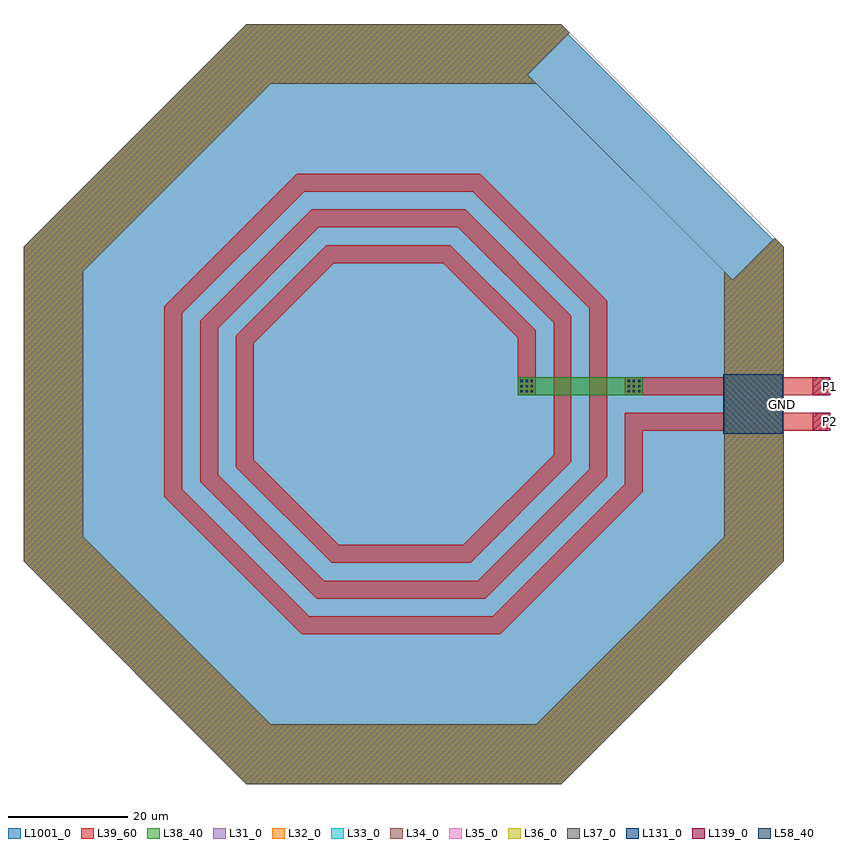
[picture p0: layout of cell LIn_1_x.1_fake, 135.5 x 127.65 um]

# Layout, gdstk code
import gdstk
lib = gdstk.Library(unit=1e-6, precision=1e-09)
def R(c, l, rs):  # rectangles x0, y0, x1, y1
    for r in rs: c.add(gdstk.rectangle(r[:2], r[2:], *l))
def A(c, l, x, y, w, h, nx, ny, dx, dy):  # array of equal rectangles
    R(c, l, [(x+i*dx, y+j*dy, x+i*dx+w, y+j*dy+h) for i in range(nx) for j in range(ny)])
def P(c, l, *ps):  # polygons
    for p in ps: c.add(gdstk.Polygon(p, *l))
L31_0 = (31, 0)
L32_0 = (32, 0)
L33_0 = (33, 0)
L34_0 = (34, 0)
L35_0 = (35, 0)
L36_0 = (36, 0)
L37_0 = (37, 0)
L38_40 = (38, 40)
L39_60 = (39, 60)
L58_40 = (58, 40)
L131_0 = (131, 0)
L139_0 = (139, 0)
L1001_0 = (1001, 0)

lin_1_x_1_fake = lib.new_cell('LIn_1_x.1_fake')
P(lin_1_x_1_fake, L31_0, [(55.291,20.831),(62.362,27.902),(26.438,63.826),(-26.438,63.826),(-63.826,26.438),(-63.826,-26.438),(-26.438,-63.826),(26.438,-63.826),(63.826,-26.438),(63.826,26.438),(27.902,62.362),(20.831,55.291),(53.826,22.296),(53.826,-22.296),(22.296,-53.826),(-22.296,-53.826),(-53.826,-22.296),(-53.826,22.296),(-22.296,53.826),(22.296,53.826)])
P(lin_1_x_1_fake, L32_0, [(55.291,20.831),(62.362,27.902),(26.438,63.826),(-26.438,63.826),(-63.826,26.438),(-63.826,-26.438),(-26.438,-63.826),(26.438,-63.826),(63.826,-26.438),(63.826,26.438),(27.902,62.362),(20.831,55.291),(53.826,22.296),(53.826,-22.296),(22.296,-53.826),(-22.296,-53.826),(-53.826,-22.296),(-53.826,22.296),(-22.296,53.826),(22.296,53.826)])
P(lin_1_x_1_fake, L33_0, [(55.291,20.831),(62.362,27.902),(26.438,63.826),(-26.438,63.826),(-63.826,26.438),(-63.826,-26.438),(-26.438,-63.826),(26.438,-63.826),(63.826,-26.438),(63.826,26.438),(27.902,62.362),(20.831,55.291),(53.826,22.296),(53.826,-22.296),(22.296,-53.826),(-22.296,-53.826),(-53.826,-22.296),(-53.826,22.296),(-22.296,53.826),(22.296,53.826)])
P(lin_1_x_1_fake, L34_0, [(55.291,20.831),(62.362,27.902),(26.438,63.826),(-26.438,63.826),(-63.826,26.438),(-63.826,-26.438),(-26.438,-63.826),(26.438,-63.826),(63.826,-26.438),(63.826,26.438),(27.902,62.362),(20.831,55.291),(53.826,22.296),(53.826,-22.296),(22.296,-53.826),(-22.296,-53.826),(-53.826,-22.296),(-53.826,22.296),(-22.296,53.826),(22.296,53.826)])
P(lin_1_x_1_fake, L35_0, [(55.291,20.831),(62.362,27.902),(26.438,63.826),(-26.438,63.826),(-63.826,26.438),(-63.826,-26.438),(-26.438,-63.826),(26.438,-63.826),(63.826,-26.438),(63.826,26.438),(27.902,62.362),(20.831,55.291),(53.826,22.296),(53.826,-22.296),(22.296,-53.826),(-22.296,-53.826),(-53.826,-22.296),(-53.826,22.296),(-22.296,53.826),(22.296,53.826)])
P(lin_1_x_1_fake, L36_0, [(55.291,20.831),(62.362,27.902),(26.438,63.826),(-26.438,63.826),(-63.826,26.438),(-63.826,-26.438),(-26.438,-63.826),(26.438,-63.826),(63.826,-26.438),(63.826,26.438),(27.902,62.362),(20.831,55.291),(53.826,22.296),(53.826,-22.296),(22.296,-53.826),(-22.296,-53.826),(-53.826,-22.296),(-53.826,22.296),(-22.296,53.826),(22.296,53.826)])
P(lin_1_x_1_fake, L37_0, [(55.291,20.831),(62.362,27.902),(26.438,63.826),(-26.438,63.826),(-63.826,26.438),(-63.826,-26.438),(-26.438,-63.826),(26.438,-63.826),(63.826,-26.438),(63.826,26.438),(27.902,62.362),(20.831,55.291),(53.826,22.296),(53.826,-22.296),(22.296,-53.826),(-22.296,-53.826),(-53.826,-22.296),(-53.826,22.296),(-22.296,53.826),(22.296,53.826)])
R(lin_1_x_1_fake, L38_40, [(19.175,1.5,40.175,4.5)])
P(lin_1_x_1_fake, L38_40, [(55.291,20.831),(62.362,27.902),(26.438,63.826),(-26.438,63.826),(-63.826,26.438),(-63.826,-26.438),(-26.438,-63.826),(26.438,-63.826),(63.826,-26.438),(63.826,26.438),(27.902,62.362),(20.831,55.291),(53.826,22.296),(53.826,-22.296),(22.296,-53.826),(-22.296,-53.826),(-53.826,-22.296),(-53.826,22.296),(-22.296,53.826),(22.296,53.826)])
R(lin_1_x_1_fake, L39_60, [(37.175,-4.5,71.675,-1.5), (37.175,1.5,71.675,4.5)])
P(lin_1_x_1_fake, L39_60, [(19.175,1.5),(22.175,1.5),(22.175,12.366),(7.866,26.675),(-12.986,26.675),(-28.175,11.486),(-28.175,-10.611),(-12.111,-26.675),(11.231,-26.675),(28.175,-9.731),(28.175,14.851),(10.351,32.675),(-15.471,32.675),(-34.175,13.971),(-34.175,-13.096),(-14.596,-32.675),(13.716,-32.675),(34.175,-12.216),(34.175,17.336),(12.836,38.675),(-17.956,38.675),(-40.175,16.456),(-40.175,-15.581),(-17.081,-38.675),(16.201,-38.675),(40.175,-14.701),(40.175,-3),(37.175,-3),(37.175,-13.459),(14.959,-35.675),(-15.839,-35.675),(-37.175,-14.339),(-37.175,15.214),(-16.714,35.675),(11.594,35.675),(31.175,16.094),(31.175,-10.974),(12.474,-29.675),(-13.354,-29.675),(-31.175,-11.854),(-31.175,12.729),(-14.229,29.675),(9.109,29.675),(25.175,13.609),(25.175,-8.489),(9.989,-23.675),(-10.869,-23.675),(-25.175,-9.369),(-25.175,10.244),(-11.744,23.675),(6.624,23.675),(19.175,11.124)],
  [(55.291,20.831),(62.362,27.902),(26.438,63.826),(-26.438,63.826),(-63.826,26.438),(-63.826,-26.438),(-26.438,-63.826),(26.438,-63.826),(63.826,-26.438),(63.826,26.438),(27.902,62.362),(20.831,55.291),(53.826,22.296),(53.826,-22.296),(22.296,-53.826),(-22.296,-53.826),(-53.826,-22.296),(-53.826,22.296),(-22.296,53.826),(22.296,53.826)])
A(lin_1_x_1_fake, L58_40, 19.628, 1.955, 0.35, 0.35, 3, 3, 0.87, 0.87)
A(lin_1_x_1_fake, L58_40, 37.628, 1.955, 0.35, 0.35, 3, 3, 0.87, 0.87)
R(lin_1_x_1_fake, L131_0, [(53.675,-5,63.675,5)])
R(lin_1_x_1_fake, L139_0, [(68.675,-4.5,71.675,-1.5), (68.675,1.5,71.675,4.5)])
P(lin_1_x_1_fake, L1001_0, [(63.446,26.28),(26.28,63.446),(-26.28,63.446),(-63.446,26.28),(-63.446,-26.28),(-26.28,-63.446),(26.28,-63.446),(63.446,-26.28)],
  [(63.446,26.28),(26.28,63.446),(-26.28,63.446),(-63.446,26.28),(-63.446,-26.28),(-26.28,-63.446),(26.28,-63.446),(63.446,-26.28)],
  [(63.446,26.28),(26.28,63.446),(-26.28,63.446),(-63.446,26.28),(-63.446,-26.28),(-26.28,-63.446),(26.28,-63.446),(63.446,-26.28)],
  [(63.446,26.28),(26.28,63.446),(-26.28,63.446),(-63.446,26.28),(-63.446,-26.28),(-26.28,-63.446),(26.28,-63.446),(63.446,-26.28)],
  [(63.446,26.28),(26.28,63.446),(-26.28,63.446),(-63.446,26.28),(-63.446,-26.28),(-26.28,-63.446),(26.28,-63.446),(63.446,-26.28)],
  [(63.446,26.28),(26.28,63.446),(-26.28,63.446),(-63.446,26.28),(-63.446,-26.28),(-26.28,-63.446),(26.28,-63.446),(63.446,-26.28)],
  [(63.446,26.28),(26.28,63.446),(-26.28,63.446),(-63.446,26.28),(-63.446,-26.28),(-26.28,-63.446),(26.28,-63.446),(63.446,-26.28)],
  [(63.446,26.28),(26.28,63.446),(-26.28,63.446),(-63.446,26.28),(-63.446,-26.28),(-26.28,-63.446),(26.28,-63.446),(63.446,-26.28)],
  [(63.446,26.28),(26.28,63.446),(-26.28,63.446),(-63.446,26.28),(-63.446,-26.28),(-26.28,-63.446),(26.28,-63.446),(63.446,-26.28)])
lin_1_x_1_fake.add(gdstk.Label('P1', (71.673,3), layer=139, texttype=0))
lin_1_x_1_fake.add(gdstk.Label('P2', (71.673,-3), layer=139, texttype=0))
lin_1_x_1_fake.add(gdstk.Label('GND', (63.673,0), layer=131, texttype=0))

lib.write_gds('LIn_1_x.1_fake.gds')
